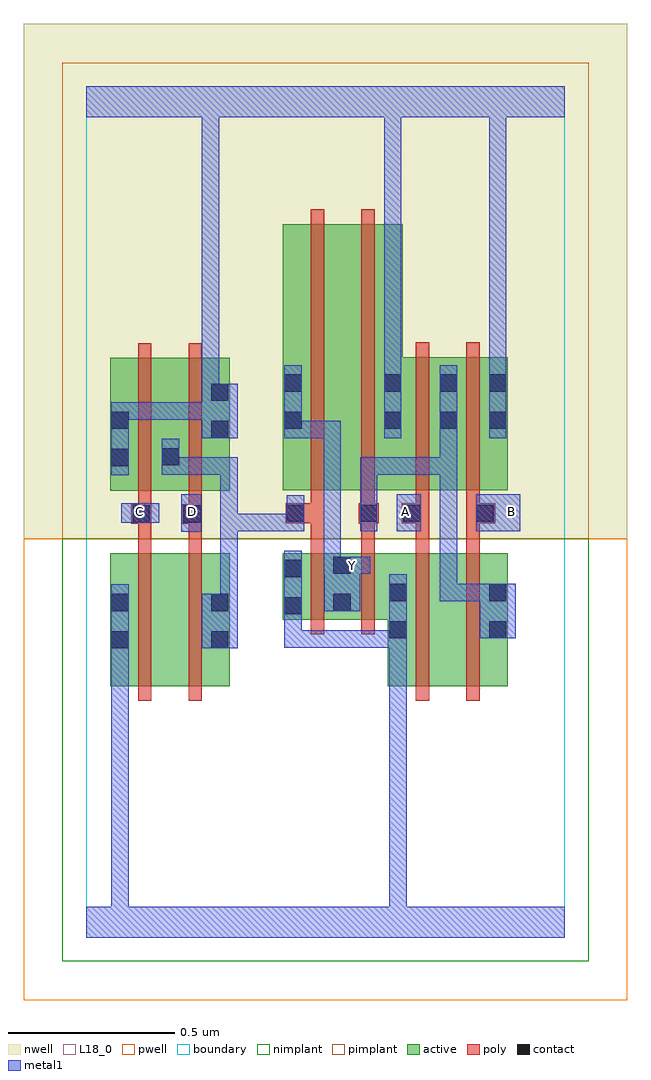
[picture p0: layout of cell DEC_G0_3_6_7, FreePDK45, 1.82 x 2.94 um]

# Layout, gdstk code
import gdstk
lib = gdstk.Library(unit=1e-6, precision=1e-09)
def R(c, l, rs):  # rectangles x0, y0, x1, y1
    for r in rs: c.add(gdstk.rectangle(r[:2], r[2:], *l))
active = (1, 0)
pwell = (2, 0)
nwell = (3, 0)
nimplant = (4, 0)
pimplant = (5, 0)
poly = (9, 0)
contact = (10, 0)
metal1 = (11, 0)
L18_0 = (18, 0)
boundary = (235, 0)

dec_g0_3_6_7 = lib.new_cell('DEC_G0_3_6_7')
R(dec_g0_3_6_7, active, [(0.072,0.756,0.132,1.156), (0.072,0.756,0.252,1.156), (0.252,0.756,0.432,1.156), (0.372,0.756,0.432,1.156), (0.908,0.756,1.088,1.156), (0.908,0.756,0.968,1.068), (1.088,0.756,1.268,1.156), (1.208,0.756,1.268,1.156), (0.592,0.956,0.8,1.156), (0.592,0.956,0.652,1.156), (0.74,0.956,0.968,1.156), (0.74,0.956,0.8,1.15), (0.072,1.344,0.132,1.644), (0.072,1.344,0.284,1.744), (0.224,1.344,0.432,1.744), (0.224,1.344,0.284,1.644), (0.372,1.344,0.432,1.744), (0.592,1.346,0.772,2.146), (0.592,1.346,0.652,2.044), (0.772,1.346,0.952,2.146), (0.892,1.346,1.12,1.746), (1.06,1.346,1.268,1.746), (1.208,1.346,1.268,1.746), (0.892,1.35,0.952,1.75), (1.06,1.35,1.12,1.746)])
R(dec_g0_3_6_7, pwell, [(-0.188,-0.188,1.628,1.2)])
R(dec_g0_3_6_7, nwell, [(-0.188,1.2,1.628,2.748)])
R(dec_g0_3_6_7, nimplant, [(-0.072,-0.072,1.512,1.2)])
R(dec_g0_3_6_7, pimplant, [(-0.072,1.2,1.512,2.632)])
R(dec_g0_3_6_7, poly, [(0.156,0.712,0.196,1.2), (0.308,0.712,0.348,1.2), (0.992,0.712,1.032,1.2), (1.144,0.712,1.184,1.2), (0.676,0.912,0.716,1.2), (0.828,0.912,0.868,1.2), (0.156,1.16,0.196,1.284), (0.308,1.16,0.348,1.284), (0.676,1.16,0.716,1.286), (0.828,1.16,0.868,1.286), (0.992,1.16,1.032,1.286), (1.144,1.16,1.184,1.286), (0.136,1.244,0.196,1.304), (0.288,1.244,0.348,1.304), (0.6,1.246,0.716,1.306), (0.676,1.246,0.716,1.286), (0.676,1.246,0.716,1.286), (0.82,1.246,0.88,1.306), (0.828,1.246,0.868,1.286), (0.828,1.246,0.868,1.286), (0.95,1.246,1.032,1.306), (1.144,1.246,1.184,1.286), (1.144,1.246,1.184,1.286), (1.144,1.246,1.23,1.306), (0.156,1.264,0.196,1.34), (0.156,1.264,0.196,1.304), (0.156,1.264,0.196,1.304), (0.308,1.264,0.348,1.34), (0.308,1.264,0.348,1.304), (0.308,1.264,0.348,1.304), (0.676,1.266,0.716,1.342), (0.828,1.266,0.868,1.342), (0.992,1.266,1.032,1.342), (0.992,1.266,1.032,1.306), (0.992,1.266,1.032,1.306), (1.144,1.266,1.184,1.342), (0.156,1.3,0.196,1.788), (0.308,1.3,0.348,1.788), (0.676,1.302,0.716,2.19), (0.828,1.302,0.868,2.19), (0.992,1.302,1.032,1.79), (1.144,1.302,1.184,1.79)])
R(dec_g0_3_6_7, contact, [(0.076,0.87,0.128,0.922), (0.376,0.87,0.428,0.922), (0.912,0.9,0.964,0.952), (1.212,0.9,1.264,0.952), (0.596,0.972,0.648,1.024), (0.076,0.982,0.128,1.034), (0.376,0.982,0.428,1.034), (0.744,0.982,0.796,1.034), (0.912,1.012,0.964,1.064), (1.212,1.012,1.264,1.064), (0.596,1.084,0.648,1.136), (0.744,1.094,0.796,1.146), (0.14,1.248,0.192,1.3), (0.292,1.248,0.344,1.3), (0.604,1.25,0.656,1.302), (0.824,1.25,0.876,1.302), (0.954,1.25,1.006,1.302), (1.174,1.25,1.226,1.302), (0.076,1.418,0.128,1.47), (0.228,1.42,0.28,1.472), (0.376,1.502,0.428,1.554), (0.076,1.53,0.128,1.582), (0.596,1.53,0.648,1.582), (0.896,1.53,0.948,1.582), (1.064,1.53,1.116,1.582), (1.212,1.53,1.264,1.582), (0.376,1.614,0.428,1.666), (0.596,1.642,0.648,1.694), (0.896,1.642,0.948,1.694), (1.064,1.642,1.116,1.694), (1.212,1.642,1.264,1.694)])
R(dec_g0_3_6_7, metal1, [(0,0,1.44,0.092), (0.076,0.04,0.128,0.092), (0.076,0.04,0.128,0.092), (0.076,0.04,0.128,0.278), (0.912,0.04,0.964,0.092), (0.912,0.04,0.964,0.092), (0.912,0.04,0.964,0.092), (0.912,0.04,0.964,0.092), (0.912,0.04,0.964,0.092), (0.912,0.04,0.964,0.092), (0.912,0.04,0.964,0.924), (0.076,0.226,0.128,0.278), (0.076,0.226,0.128,0.278), (0.076,0.226,0.128,0.278), (0.076,0.226,0.128,0.278), (0.076,0.226,0.128,0.278), (0.076,0.226,0.128,0.278), (0.076,0.226,0.128,0.278), (0.076,0.226,0.128,0.278), (0.076,0.226,0.128,0.278), (0.076,0.226,0.128,0.894), (0.076,0.842,0.128,1.062), (0.348,0.87,0.456,1.034), (0.596,0.872,0.648,0.924), (0.596,0.872,0.648,0.924), (0.596,0.872,0.648,0.924), (0.596,0.872,0.766,0.924), (0.596,0.872,0.648,0.996), (0.714,0.872,0.766,0.924), (0.714,0.872,0.766,0.924), (0.714,0.872,0.766,0.924), (0.714,0.872,0.766,0.924), (0.714,0.872,0.766,0.924), (0.714,0.872,0.964,0.924), (0.912,0.872,0.964,0.924), (0.912,0.872,0.964,0.924), (0.912,0.872,0.964,0.924), (0.912,0.872,0.964,0.924), (0.912,0.872,0.964,0.924), (0.912,0.872,0.964,0.924), (0.912,0.872,0.964,1.092), (1.184,0.9,1.292,1.064), (0.596,0.944,0.648,1.164), (0.404,0.982,0.456,1.034), (0.404,0.982,0.456,1.034), (0.404,0.982,0.456,1.274), (0.716,0.982,0.824,1.146), (1.064,1.012,1.116,1.064), (1.064,1.012,1.236,1.064), (1.064,1.012,1.116,1.444), (1.184,1.012,1.236,1.064), (1.184,1.012,1.236,1.064), (1.184,1.012,1.236,1.064), (1.184,1.012,1.236,1.064), (0.714,1.094,0.766,1.146), (0.714,1.094,0.766,1.146), (0.714,1.094,0.766,1.554), (0.714,1.094,0.854,1.146), (0.772,1.094,0.824,1.146), (0.286,1.22,0.346,1.334), (0.404,1.222,0.456,1.274), (0.404,1.222,0.656,1.274), (0.404,1.222,0.456,1.444), (0.604,1.222,0.656,1.274), (0.604,1.222,0.656,1.274), (0.604,1.222,0.656,1.33), (0.824,1.222,0.876,1.33), (0.934,1.222,1.006,1.334), (1.174,1.222,1.306,1.334), (0.106,1.248,0.22,1.306), (0.824,1.278,0.876,1.33), (0.824,1.278,0.876,1.444), (0.076,1.39,0.128,1.61), (0.228,1.392,0.28,1.5), (0.228,1.392,0.456,1.444), (0.404,1.392,0.456,1.444), (0.404,1.392,0.456,1.444), (0.404,1.392,0.456,1.444), (0.824,1.392,1.116,1.444), (1.064,1.392,1.116,1.444), (1.064,1.392,1.116,1.444), (1.064,1.392,1.116,1.444), (1.064,1.392,1.116,1.554), (0.348,1.502,0.456,1.666), (0.596,1.502,0.648,1.554), (0.596,1.502,0.648,1.554), (0.596,1.502,0.648,1.722), (0.596,1.502,0.766,1.554), (0.714,1.502,0.766,1.554), (0.896,1.502,0.948,1.722), (1.064,1.502,1.116,1.722), (1.212,1.502,1.264,1.722), (0.076,1.558,0.128,1.61), (0.076,1.558,0.128,1.61), (0.076,1.558,0.29,1.61), (0.238,1.558,0.29,1.61), (0.238,1.558,0.4,1.61), (0.348,1.558,0.4,1.61), (0.348,1.558,0.4,1.61), (0.348,1.614,0.4,1.666), (0.348,1.614,0.4,1.666), (0.348,1.614,0.4,1.666), (0.348,1.614,0.4,1.666), (0.348,1.614,0.4,1.666), (0.348,1.614,0.4,1.666), (0.348,1.614,0.4,1.666), (0.348,1.614,0.4,1.666), (0.348,1.614,0.4,1.666), (0.348,1.614,0.4,1.666), (0.348,1.614,0.4,2.52), (0.896,1.67,0.948,1.722), (0.896,1.67,0.948,1.722), (0.896,1.67,0.948,2.52), (1.212,1.67,1.264,1.722), (1.212,1.67,1.264,1.722), (1.212,1.67,1.264,1.722), (1.212,1.67,1.264,1.722), (1.212,1.67,1.264,1.722), (1.212,1.67,1.264,1.722), (1.212,1.67,1.264,2.52), (0,2.468,1.44,2.56), (0.348,2.468,0.4,2.52), (0.348,2.468,0.4,2.52), (0.348,2.468,0.4,2.52), (0.348,2.468,0.4,2.52), (0.348,2.468,0.4,2.52), (0.348,2.468,0.4,2.52), (0.896,2.468,0.948,2.52), (0.896,2.468,0.948,2.52), (0.896,2.468,0.948,2.52), (0.896,2.468,0.948,2.52), (0.896,2.468,0.948,2.52), (0.896,2.468,0.948,2.52), (1.212,2.468,1.264,2.52), (1.212,2.468,1.264,2.52), (1.212,2.468,1.264,2.52), (1.212,2.468,1.264,2.52), (1.212,2.468,1.264,2.52), (1.212,2.468,1.264,2.52), (1.212,2.468,1.264,2.52), (1.212,2.468,1.264,2.52), (1.212,2.468,1.264,2.52), (1.212,2.468,1.264,2.52)])
R(dec_g0_3_6_7, L18_0, [(0,0,1.44,0.092), (0.076,0.04,0.128,0.092), (0.076,0.04,0.128,0.092), (0.076,0.04,0.128,0.278), (0.912,0.04,0.964,0.092), (0.912,0.04,0.964,0.092), (0.912,0.04,0.964,0.092), (0.912,0.04,0.964,0.092), (0.912,0.04,0.964,0.092), (0.912,0.04,0.964,0.092), (0.912,0.04,0.964,0.924), (0.076,0.226,0.128,0.278), (0.076,0.226,0.128,0.278), (0.076,0.226,0.128,0.278), (0.076,0.226,0.128,0.278), (0.076,0.226,0.128,0.278), (0.076,0.226,0.128,0.278), (0.076,0.226,0.128,0.278), (0.076,0.226,0.128,0.278), (0.076,0.226,0.128,0.278), (0.076,0.226,0.128,0.894), (0.076,0.842,0.128,1.062), (0.596,0.872,0.648,0.924), (0.596,0.872,0.648,0.924), (0.596,0.872,0.648,0.924), (0.596,0.872,0.648,0.996), (0.596,0.872,0.766,0.924), (0.714,0.872,0.766,0.924), (0.714,0.872,0.766,0.924), (0.714,0.872,0.766,0.924), (0.714,0.872,0.766,0.924), (0.714,0.872,0.766,0.924), (0.714,0.872,0.964,0.924), (0.912,0.872,0.964,0.924), (0.912,0.872,0.964,0.924), (0.912,0.872,0.964,0.924), (0.912,0.872,0.964,0.924), (0.912,0.872,0.964,0.924), (0.912,0.872,0.964,0.924), (0.912,0.872,0.964,1.092), (0.596,0.944,0.648,1.164), (0.716,0.982,0.824,1.146), (0.714,1.094,0.766,1.146), (0.714,1.094,0.766,1.146), (0.714,1.094,0.854,1.146), (0.714,1.094,0.766,1.554), (0.772,1.094,0.824,1.146), (0.774,1.094,0.826,1.146), (0.286,1.22,0.346,1.334), (0.934,1.222,1.006,1.334), (1.174,1.222,1.306,1.334), (0.106,1.248,0.22,1.306), (0.134,1.254,0.186,1.306), (0.294,1.254,0.346,1.306), (0.934,1.254,0.986,1.306), (1.254,1.254,1.306,1.306), (0.076,1.39,0.128,1.61), (0.348,1.502,0.456,1.666), (0.596,1.502,0.648,1.554), (0.596,1.502,0.648,1.554), (0.596,1.502,0.648,1.722), (0.596,1.502,0.766,1.554), (0.714,1.502,0.766,1.554), (0.896,1.502,0.948,1.722), (1.212,1.502,1.264,1.722), (0.076,1.558,0.128,1.61), (0.076,1.558,0.128,1.61), (0.076,1.558,0.29,1.61), (0.238,1.558,0.29,1.61), (0.238,1.558,0.4,1.61), (0.348,1.558,0.4,1.61), (0.348,1.558,0.4,1.61), (0.348,1.614,0.4,1.666), (0.348,1.614,0.4,1.666), (0.348,1.614,0.4,1.666), (0.348,1.614,0.4,1.666), (0.348,1.614,0.4,1.666), (0.348,1.614,0.4,1.666), (0.348,1.614,0.4,1.666), (0.348,1.614,0.4,1.666), (0.348,1.614,0.4,1.666), (0.348,1.614,0.4,1.666), (0.348,1.614,0.4,2.52), (0.896,1.67,0.948,1.722), (0.896,1.67,0.948,1.722), (0.896,1.67,0.948,2.52), (1.212,1.67,1.264,1.722), (1.212,1.67,1.264,1.722), (1.212,1.67,1.264,1.722), (1.212,1.67,1.264,1.722), (1.212,1.67,1.264,1.722), (1.212,1.67,1.264,1.722), (1.212,1.67,1.264,2.52), (0,2.468,1.44,2.56), (0.348,2.468,0.4,2.52), (0.348,2.468,0.4,2.52), (0.348,2.468,0.4,2.52), (0.348,2.468,0.4,2.52), (0.348,2.468,0.4,2.52), (0.348,2.468,0.4,2.52), (0.896,2.468,0.948,2.52), (0.896,2.468,0.948,2.52), (0.896,2.468,0.948,2.52), (0.896,2.468,0.948,2.52), (0.896,2.468,0.948,2.52), (0.896,2.468,0.948,2.52), (1.212,2.468,1.264,2.52), (1.212,2.468,1.264,2.52), (1.212,2.468,1.264,2.52), (1.212,2.468,1.264,2.52), (1.212,2.468,1.264,2.52), (1.212,2.468,1.264,2.52), (1.212,2.468,1.264,2.52), (1.212,2.468,1.264,2.52), (1.212,2.468,1.264,2.52), (1.212,2.468,1.264,2.52)])
R(dec_g0_3_6_7, boundary, [(0,0,1.44,2.56)])
dec_g0_3_6_7.add(gdstk.Label('A', (0.96,1.28), layer=11, texttype=0))
dec_g0_3_6_7.add(gdstk.Label('B', (1.28,1.28), layer=11, texttype=0))
dec_g0_3_6_7.add(gdstk.Label('C', (0.16,1.28), layer=11, texttype=0))
dec_g0_3_6_7.add(gdstk.Label('D', (0.32,1.28), layer=11, texttype=0))
dec_g0_3_6_7.add(gdstk.Label('Y', (0.8,1.12), layer=11, texttype=0))

lib.write_gds('DEC_G0_3_6_7.gds')
